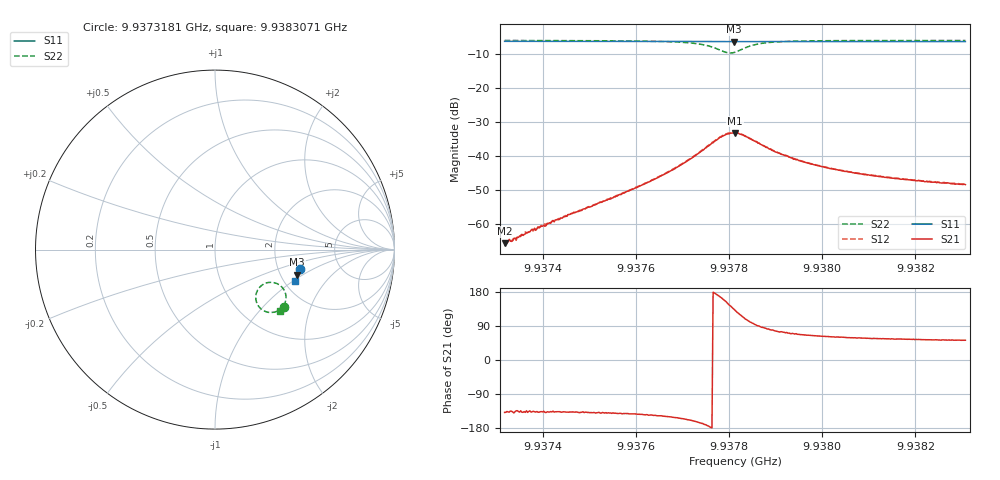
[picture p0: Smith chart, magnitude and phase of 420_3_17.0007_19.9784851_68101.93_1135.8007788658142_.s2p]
#  HZ  S  RI  R  50.00
! Rohde & Schwarz Vector Network Analyzer
! Rohde-Schwarz,ZNB20-2Port,1311601062101988,3.16
! Created: UTC 3/20/2024, 11:10:56 PM
! freq[Hz]  re:S11  im:S11  re:S21  im:S21  re:S12  im:S12  re:S22  im:S22
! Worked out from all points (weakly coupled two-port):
!   401 points, 9.9373181 GHz to 9.9383071 GHz, reference 50 ohm
!   highest |S21| = -33.19 dB at 9.9378126 GHz (marker M1); lowest = -65.6 dB at 9.9373181 GHz (marker M2)
!   lowest |S11| = -6.4 dB at 9.9378101 GHz (marker M3), VSWR 2.84, Z = 123 - j44.8 ohm
!   |S11| at or under -10 dB: nowhere
!   |S22| runs from -9.7 to -6.1 dB; largest |S21 - S12| = 0.00082
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9.93731809e9  0.4709 -0.1096  -0.000393 -0.00035  -0.000356 -0.000314  0.383 -0.3181
9.93733293e9  0.4704 -0.1106  -0.000397 -0.000391  -0.000416 -0.000396  0.3819 -0.3188
9.93737744e9  0.4696 -0.1136  -0.000611 -0.00058  -0.000595 -0.000537  0.3783 -0.3221
9.93739969e9  0.4691 -0.1151  -0.000684 -0.000636  -0.000733 -0.000669  0.3764 -0.324
9.93741205e9  0.4689 -0.116  -0.000752 -0.000692  -0.000735 -0.000671  0.3752 -0.325
9.9374442e9  0.4682 -0.1181  -0.000929 -0.000875  -0.000954 -0.000867  0.3722 -0.3275
9.93748376e9  0.4675 -0.1208  -0.00118 -0.00107  -0.00125 -0.00105  0.3678 -0.331
9.93755052e9  0.4659 -0.1252  -0.00185 -0.00158  -0.00195 -0.00159  0.3585 -0.337
9.93764942e9  0.4634 -0.1318  -0.00413 -0.00265  -0.00424 -0.00264  0.3346 -0.3476
9.93770135e9  0.4619 -0.1355  -0.00705 -0.00328  -0.00718 -0.00319  0.3084 -0.3504
9.93774833e9  0.4602 -0.1386  -0.0128 -0.00219  -0.013 -0.00185  0.2626 -0.335
9.93778542e9  0.4584 -0.14  -0.0185 0.00603  -0.0188 0.00666  0.2271 -0.2637
9.93779778e9  0.4579 -0.1403  -0.0181 0.011  -0.0182 0.0118  0.2378 -0.225
9.93781014e9  0.4577 -0.1405  -0.0152 0.0157  -0.0148 0.0163  0.2674 -0.1944
9.93781261e9  0.4579 -0.1403  -0.0144 0.0165  -0.0141 0.017  0.2748 -0.1903
9.93783239e9  0.4582 -0.1413  -0.00707 0.0186  -0.00649 0.0189  0.3345 -0.1854
9.93786701e9  0.4583 -0.1439  0.000584 0.0149  0.000872 0.015  0.386 -0.2273
9.93791399e9  0.4576 -0.1473  0.00291 0.0101  0.00316 0.0101  0.3957 -0.2706
9.93797828e9  0.4562 -0.1519  0.00327 0.00685  0.0034 0.00683  0.3898 -0.2989
9.93804504e9  0.4544 -0.1563  0.00302 0.00523  0.00315 0.00523  0.3825 -0.3143
9.93814394e9  0.4517 -0.1628  0.00269 0.00396  0.00282 0.00395  0.3729 -0.328
9.93830713e9  0.4472 -0.1732  0.00233 0.003  0.00242 0.00302  0.3605 -0.3424
